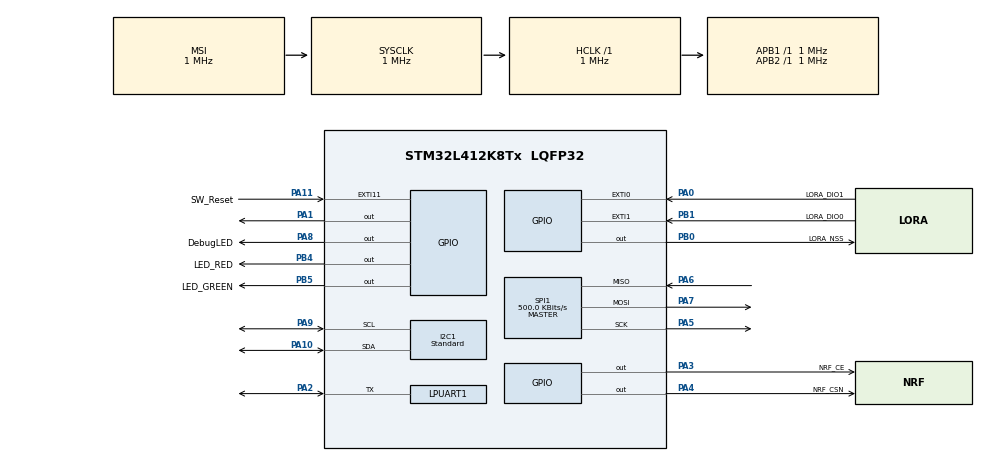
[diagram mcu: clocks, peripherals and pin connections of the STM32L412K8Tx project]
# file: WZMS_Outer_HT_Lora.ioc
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I2C1.Analog_Filter=I2C_ANALOGFILTER_ENABLE
I2C1.I2C_Fall_Time=0
I2C1.I2C_Rise_Time=0
I2C1.I2C_Speed_Mode=I2C_Standard
I2C1.Timing=0x00000103
LPUART1.BaudRate=15625
LPUART1.WordLength=UART_WORDLENGTH_8B
Mcu.Family=STM32L4
Mcu.Name=STM32L412K8Tx
Mcu.Package=LQFP32
NVIC.EXTI0_IRQn=true\:0\:0\:false\:false\:true\:true\:true
NVIC.EXTI15_10_IRQn=true\:0\:0\:false\:false\:true\:true\:true
NVIC.EXTI1_IRQn=true\:0\:0\:false\:false\:true\:true\:true
NVIC.PriorityGroup=NVIC_PRIORITYGROUP_4
NVIC.RCC_IRQn=true\:0\:0\:false\:false\:true\:true\:false
NVIC.TIM1_UP_TIM16_IRQn=true\:0\:0\:false\:false\:true\:true\:true
PA0-CK_IN.GPIO_Label=LORA_DIO1
PA0-CK_IN.Signal=GPXTI0
PA1.Signal=GPIO_Output
PA10.Mode=I2C
PA10.Signal=I2C1_SDA
PA11.GPIO_Label=SW_Reset
PA11.GPIO_PuPd=GPIO_PULLUP
PA11.Signal=GPXTI11
PA13\ (JTMS/SWDIO).Mode=Serial_Wire
PA13\ (JTMS/SWDIO).Signal=SYS_JTMS-SWDIO
PA14\ (JTCK/SWCLK).Mode=Serial_Wire
PA14\ (JTCK/SWCLK).Signal=SYS_JTCK-SWCLK
PA2.Mode=Half_duplex(single_wire_mode)
PA2.Signal=LPUART1_TX
PA3.GPIO_Label=NRF_CE
PA3.Signal=GPIO_Output
PA4.GPIO_Label=NRF_CSN
PA4.Signal=GPIO_Output
PA5.Mode=Full_Duplex_Master
PA5.Signal=SPI1_SCK
PA6.Mode=Full_Duplex_Master
PA6.Signal=SPI1_MISO
PA7.Mode=Full_Duplex_Master
PA7.Signal=SPI1_MOSI
PA8.GPIO_Label=DebugLED
PA8.Signal=GPIO_Output
PA9.Mode=I2C
PA9.Signal=I2C1_SCL
PB0.GPIO_Label=LORA_NSS
PB0.Signal=GPIO_Output
PB1.GPIO_Label=LORA_DIO0
PB1.Signal=GPXTI1
PB4\ (NJTRST).GPIO_Label=LED_RED
PB4\ (NJTRST).Signal=GPIO_Output
PB5.GPIO_Label=LED_GREEN
PB5.Signal=GPIO_Output
PB6.Signal=USART1_TX
PB7.Signal=USART1_RX
ProjectManager.HeapSize=0x800
ProjectManager.StackSize=0x800
ProjectManager.TargetToolchain=Makefile
RCC.ADCFreq_Value=1000000
RCC.AHBFreq_Value=1000000
RCC.APB1Freq_Value=1000000
RCC.APB1TimFreq_Value=1000000
RCC.APB2Freq_Value=1000000
RCC.APB2TimFreq_Value=1000000
RCC.CortexFreq_Value=1000000
RCC.HCLKFreq_Value=1000000
RCC.HSE_VALUE=8000000
RCC.HSI48_VALUE=48000000
RCC.HSI_VALUE=16000000
RCC.LSE_VALUE=32768
RCC.MSIClockRange=RCC_MSIRANGE_4
RCC.MSI_VALUE=1000000
RCC.SYSCLKFreq_VALUE=1000000
RCC.USBFreq_Value=1000000
RCC.VCOOutputFreq_Value=8000000
SPI1.CalculateBaudRate=500.0 KBits/s
SPI1.DataSize=SPI_DATASIZE_8BIT
SPI1.Direction=SPI_DIRECTION_2LINES
SPI1.Mode=SPI_MODE_MASTER
SPI1.NSSPMode=SPI_NSS_PULSE_ENABLE
SPI1.VirtualType=VM_MASTER
TIM16.ClockDivision=TIM_CLOCKDIVISION_DIV4
TIM16.Period=25-1
TIM16.Prescaler=80-1
TIM16.RepetitionCounter=25-1
VP_TIM16_VS_ClockSourceINT.Mode=Enable_Timer
board=custom

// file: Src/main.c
/* USER CODE BEGIN Header */
/**
  ******************************************************************************
  * @file           : main.c
  * @brief          : Main program body
  ******************************************************************************
  * @attention
  *
  * <h2><center>&copy; Copyright (c) 2020 STMicroelectronics.
  * All rights reserved.</center></h2>
  *
  * This software component is licensed by ST under BSD 3-Clause license,
  * the "License"; You may not use this file except in compliance with the
  * License. You may obtain a copy of the License at:
  *                        opensource.org/licenses/BSD-3-Clause
  *
  ******************************************************************************
  */
/* USER CODE END Header */

#include "main.h"

/* USER CODE BEGIN Includes */
#include "userardu.h"
#include "lmic.h"
#include "userardu.h"
#include "RFInterface.h"
#include "giuart.h"
#include "NRF/nrf24.h"
#include "WZMSCore.h"
/* USER CODE END Includes */

/* USER CODE BEGIN PD */
extern GPIO_Pin Unused_Pin;
#define SW_SERIAL_UNUSED_PIN Unused_Pin
/* USER CODE END PD */

I2C_HandleTypeDef hi2c1;

UART_HandleTypeDef hlpuart1;

SPI_HandleTypeDef hspi1;

TIM_HandleTypeDef htim16;

void SystemClock_Config(void);
static void MX_GPIO_Init(void);
static void MX_SPI1_Init(void);
static void MX_I2C1_Init(void);
static void MX_LPUART1_UART_Init(void);
static void MX_TIM16_Init(void);
/* USER CODE BEGIN PFP */
extern volatile void BtnINT();
extern char uart_getTM(uint32_t timeout);
extern char uart_get(void);
extern void uart_set(char ch);
void snm2DevEUI(char* snm);
/* USER CODE END PFP */

/* USER CODE BEGIN 0 */

extern u1_t APPEUI[8];
void __attribute__((const)) error_Handler(const char* const file, const uint16_t line){
	xprintf("Assertion detected!!\r\nlocale : %s:%d\r\n",file,line);
  digitalWrite(byte2GPIO_Pin(0xB4),1);
  digitalWrite(byte2GPIO_Pin(0xB5),0);
}
void HAL_TIM_PeriodElapsedCallback(TIM_HandleTypeDef *htim)
{
  if(htim->Instance == TIM16)WZMS_LEDLoop();
}
/* USER CODE END 0 */

int main(void)
{

  /* MCU Configuration--------------------------------------------------------*/

  /* Reset of all peripherals, Initializes the Flash interface and the Systick. */
  HAL_Init();

  /* Configure the system clock */
  SystemClock_Config();

  /* Initialize all configured peripherals */
  MX_GPIO_Init();
  MX_SPI1_Init();
  MX_I2C1_Init();
  MX_LPUART1_UART_Init();
  MX_TIM16_Init();
  /* USER CODE BEGIN 2 */
//HAL_TIM_Base_Start_IT(&htim15);    // <-----------  change to your setup
  HAL_TIM_Base_Start_IT(&htim16);    // <-----------  change to your setup
  __HAL_SPI_ENABLE(&hspi1);            // <-----------  change to your setup

  //UART_init(uart_get,uart_set,uart_getTM);

  Serial = &hlpuart1;
  debug_init();

  hal_set_failure_handler(error_Handler);

  println("Init End.!!");
  //println("nrf24_init!!");

  extern GPIO_Pin debugled;//PB7
  //led = byte2GPIO_Pin(0xB7);
  debugled = byte2GPIO_Pin(0xA8);

  //Start = 1;
  //blink = WZMS_millis();

	//ResetCutline = 10;

	//CType = "lora";

  println("RFInit!!");
  println("APPKEY = %s",printBin(NwkCode,16));

  //RFsend();

	WZMS_Init();//WZMS Initialize

  //GPIO_Pin dio = byte2GPIO_Pin(0xA0);
  //attachInterrupt(digitalPinToInterrupt(dio),BtnINT,FALLING);
  //Pinpullstate(GPIOA,GPIO_PIN_0,GPIO_PULLUP);
  /* USER CODE END 2 */

  /* Infinite loop */
  while (1)
  {

    /* USER CODE BEGIN 3 */
    //println("RFloop");
    WZMSLoop();//WZMS Loop
	  os_runloop_once();
  }
  /* USER CODE END 3 */
}

void SystemClock_Config(void)
{
  RCC_OscInitTypeDef RCC_OscInitStruct = {0};
  RCC_ClkInitTypeDef RCC_ClkInitStruct = {0};
  RCC_PeriphCLKInitTypeDef PeriphClkInit = {0};

  /** Configure the main internal regulator output voltage
  */
  if (HAL_PWREx_ControlVoltageScaling(PWR_REGULATOR_VOLTAGE_SCALE1) != HAL_OK)
  {
    Error_Handler();
  }
  /** Initializes the CPU, AHB and APB busses clocks
  */
  RCC_OscInitStruct.OscillatorType = RCC_OSCILLATORTYPE_MSI;
  RCC_OscInitStruct.MSIState = RCC_MSI_ON;
  RCC_OscInitStruct.MSICalibrationValue = 0;
  RCC_OscInitStruct.MSIClockRange = RCC_MSIRANGE_4;
  RCC_OscInitStruct.PLL.PLLState = RCC_PLL_NONE;
  if (HAL_RCC_OscConfig(&RCC_OscInitStruct) != HAL_OK)
  {
    Error_Handler();
  }
  /** Initializes the CPU, AHB and APB busses clocks
  */
  RCC_ClkInitStruct.ClockType = RCC_CLOCKTYPE_HCLK|RCC_CLOCKTYPE_SYSCLK
                              |RCC_CLOCKTYPE_PCLK1|RCC_CLOCKTYPE_PCLK2;
  RCC_ClkInitStruct.SYSCLKSource = RCC_SYSCLKSOURCE_MSI;
  RCC_ClkInitStruct.AHBCLKDivider = RCC_SYSCLK_DIV1;
  RCC_ClkInitStruct.APB1CLKDivider = RCC_HCLK_DIV1;
  RCC_ClkInitStruct.APB2CLKDivider = RCC_HCLK_DIV1;

  if (HAL_RCC_ClockConfig(&RCC_ClkInitStruct, FLASH_LATENCY_0) != HAL_OK)
  {
    Error_Handler();
  }
  PeriphClkInit.PeriphClockSelection = RCC_PERIPHCLK_LPUART1|RCC_PERIPHCLK_I2C1;
  PeriphClkInit.Lpuart1ClockSelection = RCC_LPUART1CLKSOURCE_PCLK1;
  PeriphClkInit.I2c1ClockSelection = RCC_I2C1CLKSOURCE_PCLK1;
  if (HAL_RCCEx_PeriphCLKConfig(&PeriphClkInit) != HAL_OK)
  {
    Error_Handler();
  }
}

static void MX_I2C1_Init(void)
{

  hi2c1.Instance = I2C1;
  hi2c1.Init.Timing = 0x00000103;
  hi2c1.Init.OwnAddress1 = 0;
  hi2c1.Init.AddressingMode = I2C_ADDRESSINGMODE_7BIT;
  hi2c1.Init.DualAddressMode = I2C_DUALADDRESS_DISABLE;
  hi2c1.Init.OwnAddress2 = 0;
  hi2c1.Init.OwnAddress2Masks = I2C_OA2_NOMASK;
  hi2c1.Init.GeneralCallMode = I2C_GENERALCALL_DISABLE;
  hi2c1.Init.NoStretchMode = I2C_NOSTRETCH_DISABLE;
  if (HAL_I2C_Init(&hi2c1) != HAL_OK)
  {
    Error_Handler();
  }
  /** Configure Analogue filter
  */
  if (HAL_I2CEx_ConfigAnalogFilter(&hi2c1, I2C_ANALOGFILTER_ENABLE) != HAL_OK)
  {
    Error_Handler();
  }
  /** Configure Digital filter
  */
  if (HAL_I2CEx_ConfigDigitalFilter(&hi2c1, 0) != HAL_OK)
  {
    Error_Handler();
  }

}

static void MX_LPUART1_UART_Init(void)
{

  hlpuart1.Instance = LPUART1;
  hlpuart1.Init.BaudRate = 15625;
  hlpuart1.Init.WordLength = UART_WORDLENGTH_8B;
  hlpuart1.Init.StopBits = UART_STOPBITS_1;
  hlpuart1.Init.Parity = UART_PARITY_NONE;
  hlpuart1.Init.Mode = UART_MODE_TX_RX;
  hlpuart1.Init.HwFlowCtl = UART_HWCONTROL_NONE;
  hlpuart1.Init.OneBitSampling = UART_ONE_BIT_SAMPLE_DISABLE;
  hlpuart1.AdvancedInit.AdvFeatureInit = UART_ADVFEATURE_NO_INIT;
  if (HAL_HalfDuplex_Init(&hlpuart1) != HAL_OK)
  {
    Error_Handler();
  }

}

static void MX_SPI1_Init(void)
{

  /* SPI1 parameter configuration*/
  hspi1.Instance = SPI1;
  hspi1.Init.Mode = SPI_MODE_MASTER;
  hspi1.Init.Direction = SPI_DIRECTION_2LINES;
  hspi1.Init.DataSize = SPI_DATASIZE_8BIT;
  hspi1.Init.CLKPolarity = SPI_POLARITY_LOW;
  hspi1.Init.CLKPhase = SPI_PHASE_1EDGE;
  hspi1.Init.NSS = SPI_NSS_SOFT;
  hspi1.Init.BaudRatePrescaler = SPI_BAUDRATEPRESCALER_2;
  hspi1.Init.FirstBit = SPI_FIRSTBIT_MSB;
  hspi1.Init.TIMode = SPI_TIMODE_DISABLE;
  hspi1.Init.CRCCalculation = SPI_CRCCALCULATION_DISABLE;
  hspi1.Init.CRCPolynomial = 7;
  hspi1.Init.CRCLength = SPI_CRC_LENGTH_DATASIZE;
  hspi1.Init.NSSPMode = SPI_NSS_PULSE_ENABLE;
  if (HAL_SPI_Init(&hspi1) != HAL_OK)
  {
    Error_Handler();
  }

}

static void MX_TIM16_Init(void)
{

  htim16.Instance = TIM16;
  htim16.Init.Prescaler = 80-1;
  htim16.Init.CounterMode = TIM_COUNTERMODE_UP;
  htim16.Init.Period = 25-1;
  htim16.Init.ClockDivision = TIM_CLOCKDIVISION_DIV4;
  htim16.Init.RepetitionCounter = 25-1;
  htim16.Init.AutoReloadPreload = TIM_AUTORELOAD_PRELOAD_DISABLE;
  if (HAL_TIM_Base_Init(&htim16) != HAL_OK)
  {
    Error_Handler();
  }

}

static void MX_GPIO_Init(void)
{
  GPIO_InitTypeDef GPIO_InitStruct = {0};

  /* GPIO Ports Clock Enable */
  __HAL_RCC_GPIOA_CLK_ENABLE();
  __HAL_RCC_GPIOB_CLK_ENABLE();

  /*Configure GPIO pin Output Level */
  HAL_GPIO_WritePin(GPIOA, GPIO_PIN_1|NRF_CE_Pin|NRF_CSN_Pin|DebugLED_Pin, GPIO_PIN_RESET);

  /*Configure GPIO pin Output Level */
  HAL_GPIO_WritePin(GPIOB, LORA_NSS_Pin|LED_RED_Pin|LED_GREEN_Pin, GPIO_PIN_RESET);

  /*Configure GPIO pin : LORA_DIO1_Pin */
  GPIO_InitStruct.Pin = LORA_DIO1_Pin;
  GPIO_InitStruct.Mode = GPIO_MODE_IT_RISING;
  GPIO_InitStruct.Pull = GPIO_NOPULL;
  HAL_GPIO_Init(LORA_DIO1_GPIO_Port, &GPIO_InitStruct);

  /*Configure GPIO pins : PA1 NRF_CE_Pin NRF_CSN_Pin DebugLED_Pin */
  GPIO_InitStruct.Pin = GPIO_PIN_1|NRF_CE_Pin|NRF_CSN_Pin|DebugLED_Pin;
  GPIO_InitStruct.Mode = GPIO_MODE_OUTPUT_PP;
  GPIO_InitStruct.Pull = GPIO_NOPULL;
  GPIO_InitStruct.Speed = GPIO_SPEED_FREQ_LOW;
  HAL_GPIO_Init(GPIOA, &GPIO_InitStruct);

  /*Configure GPIO pins : LORA_NSS_Pin LED_RED_Pin LED_GREEN_Pin */
  GPIO_InitStruct.Pin = LORA_NSS_Pin|LED_RED_Pin|LED_GREEN_Pin;
  GPIO_InitStruct.Mode = GPIO_MODE_OUTPUT_PP;
  GPIO_InitStruct.Pull = GPIO_NOPULL;
  GPIO_InitStruct.Speed = GPIO_SPEED_FREQ_LOW;
  HAL_GPIO_Init(GPIOB, &GPIO_InitStruct);

  /*Configure GPIO pin : LORA_DIO0_Pin */
  GPIO_InitStruct.Pin = LORA_DIO0_Pin;
  GPIO_InitStruct.Mode = GPIO_MODE_IT_RISING;
  GPIO_InitStruct.Pull = GPIO_NOPULL;
  HAL_GPIO_Init(LORA_DIO0_GPIO_Port, &GPIO_InitStruct);

  /*Configure GPIO pin : SW_Reset_Pin */
  GPIO_InitStruct.Pin = SW_Reset_Pin;
  GPIO_InitStruct.Mode = GPIO_MODE_IT_RISING;
  GPIO_InitStruct.Pull = GPIO_PULLUP;
  HAL_GPIO_Init(SW_Reset_GPIO_Port, &GPIO_InitStruct);

  /*Configure GPIO pins : PB6 PB7 */
  GPIO_InitStruct.Pin = GPIO_PIN_6|GPIO_PIN_7;
  GPIO_InitStruct.Mode = GPIO_MODE_AF_PP;
  GPIO_InitStruct.Pull = GPIO_NOPULL;
  GPIO_InitStruct.Speed = GPIO_SPEED_FREQ_VERY_HIGH;
  GPIO_InitStruct.Alternate = GPIO_AF7_USART1;
  HAL_GPIO_Init(GPIOB, &GPIO_InitStruct);

  /* EXTI interrupt init*/
  HAL_NVIC_SetPriority(EXTI0_IRQn, 0, 0);
  HAL_NVIC_EnableIRQ(EXTI0_IRQn);

  HAL_NVIC_SetPriority(EXTI1_IRQn, 0, 0);
  HAL_NVIC_EnableIRQ(EXTI1_IRQn);

  HAL_NVIC_SetPriority(EXTI15_10_IRQn, 0, 0);
  HAL_NVIC_EnableIRQ(EXTI15_10_IRQn);

}

void Error_Handler(void)
{
}

/************************ (C) COPYRIGHT STMicroelectronics *****END OF FILE****/
